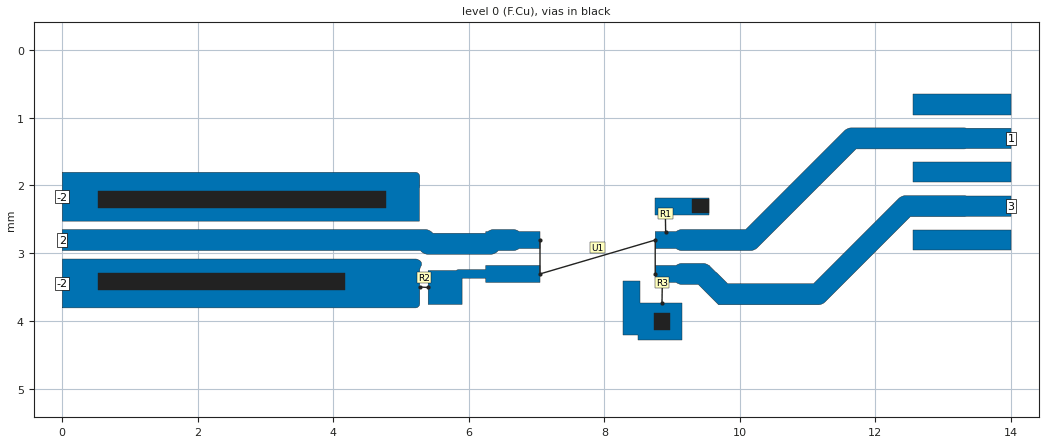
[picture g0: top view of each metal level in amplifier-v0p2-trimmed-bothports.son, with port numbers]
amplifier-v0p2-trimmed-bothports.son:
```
FTYP SONPROJ 19 ! Sonnet Project File
VER 18.01
HEADER
LIC antikernel2.1.51176 90e2ba8817c1 havequick azonenberg FullLicense
DAT 10/10/2021 16:12:27
BUILT_BY_CREATED dxf 18.01 09/24/2021 21:18:47
BUILT_BY_SAVED sonnet 18.01
MDATE 10/10/2021 07:20:18
HDATE 10/10/2021 07:20:18
ANN Created by dxfgeo, Sonnet Software Inc.
END HEADER
DIM
ANG DEG
CAP PF
CON /OH
FREQ GHZ
IND NH
LNG MM
RES OH
END DIM
CONTROL
VARSWP
OPTIONS  -dj
SPEED 1
CACHE_ABS 2
Q_ACC N
END CONTROL
GEO
TMET "Lossless" 0 SUP 0 0 0 0
BMET "Lossless" 0 SUP 0 0 0 0
MET "Unknown_metal" 1 NOR INF 0.5 0 
MET "Copper 1oz thick" 2 TMM 58000000 0.5 0.035 2
MET "Unknown_metal" 1 VOL INF 0
BOX 1 14 5 1120 1000 20 0
      5 1 1 0 0 0 0 "Air"
      0.17 3.68 1 0.0092 0 0 0 "Isola FR408HR"
TECHLAY METAL F.Cu L1D0 -1 -65534 
0 0 1 T 621 1 1 100 100 0 0 0 Y
END
END
TECHLAY VIA L2D0 L2D0 -2 -65534 
VIA POLYGON
0 0 2 N 627 1 1 100 100 0 0 0 Y
TOLEVEL 1 RING NOCOVERS
END
END
LORGN 0 5 U 
POR1 BOX
POLY 397 1
34
-2 50 0 0 0 5.329070518e-15 3.4455 
POR1 BOX
POLY 401 1
43
2 50 0 0 0 5.329070518e-15 2.805 
POR1 BOX
POLY 553 1
12
-2 50 0 0 0 5.329070518e-15 2.1655 
POR1 BOX
POLY 599 1
12
1 50 0 0 0 14 1.305 
POR1 BOX
POLY 609 1
14
3 50 0 0 0 14 2.305 
SMD 0 "R2"
ID 469
GNDREF AUTO
DRP1 RIGHT NONE 1
DRP1 LEFT NONE 1
SBOX 5.30625 5.36875 3.492125 3.510875
PBSHW N
LPOS 5.3375 3.492125
TYPE IDEAL RES 50
SMDP 0 5.4 3.505 R 4 1 
EXSMDP
GNDREF AUTO
TERMW CUST 0.1
END EXSMDP
SMDP 0 5.275 3.498 L 5 2 
EXSMDP
GNDREF AUTO
TERMW CUST 0.1
END EXSMDP
END
SMD 0 "U1"
ID 531
GNDREF AUTO
DRP1 LEFT NONE 1
DRP1 RIGHT NONE 1
SBOX 7.475 8.325 2.63 3.48
PBSHW N
LPOS 7.9 2.63
TYPE SPARAM 1
SMDP 0 8.75 3.305 R 6 1 
EXSMDP
GNDREF BOX AUTO
TERMW FEED
END EXSMDP
SMDP 0 8.75 2.805 R 7 2 
EXSMDP
GNDREF BOX AUTO
TERMW FEED
END EXSMDP
SMDP 0 7.05 3.305 L 8 3 
EXSMDP
GNDREF BOX AUTO
TERMW FEED
END EXSMDP
SMDP 0 7.05 2.805 L 9 4 
EXSMDP
GNDREF BOX AUTO
TERMW FEED
END EXSMDP
END
SMD 0 "R1"
ID 540
GNDREF AUTO
DRP1 BOTTOM NONE 1
DRP1 TOP NONE 1
SBOX 8.8395 8.9645 2.4925 2.6175
PBSHW N
LPOS 8.902 2.4925
TYPE IDEAL RES 110
SMDP 0 8.904 2.68 B 10 1 
EXSMDP
GNDREF AUTO
TERMW CUST 0.1
END EXSMDP
SMDP 0 8.9 2.43 T 11 2 
EXSMDP
GNDREF AUTO
TERMW CUST 0.1
END EXSMDP
END
SMD 0 "R3"
ID 545
GNDREF AUTO
DRP1 TOP NONE 1
DRP1 BOTTOM NONE 1
SBOX 8.7775 8.9275 3.505 3.655
PBSHW N
LPOS 8.8525 3.505
TYPE IDEAL RES 110
SMDP 0 8.855 3.43 T 12 1 
EXSMDP
GNDREF AUTO
TERMW CUST 0.1
END EXSMDP
SMDP 0 8.85 3.73 B 13 2 
EXSMDP
GNDREF AUTO
TERMW CUST 0.1
END EXSMDP
END
NUM 15
0 16 1 T 9 1 1 100 100 0 0 0 Y
TLAYNAM F.Cu INH
5.4 3.755
5.4 3.255
5.813 3.255
5.818 3.251
5.823 3.248
5.835 3.244
5.847 3.242
6.25 3.242
6.25 3.18
7.05 3.18
7.05 3.43
6.25 3.43
6.25 3.368
5.9 3.368
5.9 3.755
5.4 3.755
END
0 38 1 T 397 1 1 100 100 0 0 0 Y
TLAYNAM F.Cu INH
5.227 3.804
5.239 3.8
5.244 3.797
5.254 3.789
5.258 3.785
5.266 3.775
5.269 3.77
5.269 3.769
5.271 3.764
5.273 3.758
5.275 3.746
5.275 3.25
5.277 3.23
5.284 3.208
5.292 3.192
5.295 3.187
5.296 3.186
5.3 3.174
5.302 3.162
5.301 3.156
5.301 3.15
5.3 3.144
5.296 3.132
5.293 3.127
5.285 3.117
5.281 3.113
5.271 3.105
5.266 3.102
5.258 3.099
5.25 3.095
5.249 3.094
5.244 3.091
5.232 3.087
5.22 3.085
5.329070518e-15 3.085
5.329070518e-15 3.806
5.215 3.806
5.227 3.804
END
0 57 1 T 401 1 1 100 100 0 0 0 Y
TLAYNAM F.Cu INH
6.339 3.014
6.354 3.011
6.368 3.006
6.382 3
6.396 2.993
6.408 2.985
6.42 2.975
6.435 2.96
6.658 2.96
6.673 2.959
6.688 2.956
6.702 2.951
6.716 2.945
6.73 2.938
6.742 2.93
7.05 2.93
7.05 2.68
6.742 2.68
6.73 2.672
6.716 2.665
6.702 2.659
6.688 2.654
6.673 2.651
6.658 2.65
6.363 2.65
6.348 2.651
6.333 2.654
6.319 2.659
6.305 2.665
6.291 2.672
6.279 2.68
6.25 2.68
6.25 2.705
5.468 2.705
5.465 2.701
5.454 2.69
5.442 2.68
5.43 2.672
5.416 2.665
5.402 2.659
5.388 2.654
5.373 2.651
5.358 2.65
5.329070518e-15 2.65
5.329070518e-15 2.96
5.286 2.96
5.29 2.964
5.3 2.975
5.312 2.985
5.325 2.993
5.338 3
5.352 3.006
5.367 3.011
5.382 3.014
5.397 3.015
6.324 3.015
6.339 3.014
END
0 5 1 T 453 1 1 100 100 0 0 0 Y
TLAYNAM F.Cu INH
14 2.655
12.55 2.655
12.55 2.955
14 2.955
14 2.655
END
0 5 1 T 454 1 1 100 100 0 0 0 Y
TLAYNAM F.Cu INH
14 0.655
12.55 0.655
12.55 0.955
14 0.955
14 0.655
END
0 5 1 T 455 1 1 100 100 0 0 0 Y
TLAYNAM F.Cu INH
14 1.655
12.55 1.655
12.55 1.955
14 1.955
14 1.655
END
0 9 1 T 551 1 1 100 100 0 0 0 Y
TLAYNAM F.Cu INH
9.15 3.73
8.525 3.73
8.525 3.405
8.275 3.405
8.275 4.205
8.49 4.205
8.49 4.28
9.15 4.28
9.15 3.73
END
0 16 1 T 553 1 1 100 100 0 0 0 Y
TLAYNAM F.Cu INH
5.27 2.03
5.275 2.03
5.275 1.865
5.273 1.853
5.269 1.841
5.266 1.836
5.258 1.826
5.254 1.822
5.244 1.814
5.239 1.811
5.227 1.807
5.215 1.805
5.329070518e-15 1.805
5.329070518e-15 2.526
5.27 2.526
5.27 2.03
END
0 13 1 T 559 1 1 100 100 0 0 0 Y
TLAYNAM F.Cu INH
9.55 2.368
9.55 2.368
9.55 2.242
9.55 2.242
9.55 2.18
8.75 2.18
8.75 2.242
8.75 2.242
8.75 2.368
8.75 2.368
8.75 2.43
9.55 2.43
9.55 2.368
END
0 45 1 T 599 1 1 100 100 0 0 0 Y
TLAYNAM F.Cu INH
10.173 2.959
10.188 2.956
10.202 2.951
10.216 2.945
10.23 2.938
10.242 2.93
10.254 2.92
11.714 1.46
13.308 1.46
13.323 1.459
13.338 1.456
13.341 1.455
14 1.455
14 1.155
13.341 1.155
13.338 1.154
13.323 1.151
13.308 1.15
11.642 1.15
11.627 1.151
11.612 1.154
11.598 1.159
11.584 1.165
11.57 1.172
11.558 1.18
11.546 1.19
10.086 2.65
9.142 2.65
9.127 2.651
9.112 2.654
9.098 2.659
9.084 2.665
9.07 2.672
9.058 2.68
8.75 2.68
8.75 2.93
9.058 2.93
9.07 2.938
9.084 2.945
9.098 2.951
9.112 2.956
9.127 2.959
9.142 2.96
10.158 2.96
10.173 2.959
END
0 64 1 T 609 1 1 100 100 0 0 0 Y
TLAYNAM F.Cu INH
9.919 3.76
11.158 3.76
11.173 3.759
11.188 3.756
11.202 3.751
11.216 3.745
11.23 3.738
11.242 3.73
11.254 3.72
12.514 2.46
13.308 2.46
13.323 2.459
13.338 2.456
13.341 2.455
14 2.455
14 2.155
13.341 2.155
13.338 2.154
13.323 2.151
13.308 2.15
12.442 2.15
12.427 2.151
12.412 2.154
12.398 2.159
12.384 2.165
12.37 2.172
12.358 2.18
12.346 2.19
11.086 3.45
9.820589 3.45
9.655392667 3.284803667
9.651 3.287
9.554 3.19
9.55 3.187
9.55 3.18
9.542 3.18
9.53 3.172
9.516 3.165
9.502 3.159
9.488 3.154
9.473 3.151
9.458 3.15
9.142 3.15
9.127 3.151
9.112 3.154
9.098 3.159
9.084 3.165
9.07 3.172
9.058 3.18
8.75 3.18
8.75 3.43
9.058 3.43
9.07 3.438
9.084 3.445
9.098 3.451
9.112 3.456
9.127 3.459
9.142 3.46
9.386 3.46
9.475 3.549
9.475 3.549583
9.685417 3.76
9.919 3.76
9.919 3.76
END
VIA POLYGON
0 5 2 N 255 1 1 100 100 0 0 0 Y
TOLEVEL 1 RING NOCOVERS
TLAYNAM L2D0 INH
0.525 3.535
0.525 3.285
4.175 3.285
4.175 3.535
0.525 3.535
END
VIA POLYGON
0 5 2 N 262 1 1 100 100 0 0 0 Y
TOLEVEL 1 RING NOCOVERS
TLAYNAM L2D0 INH
8.725 4.13
8.725 3.88
8.975 3.88
8.975 4.13
8.725 4.13
END
VIA POLYGON
0 5 2 N 265 1 1 100 100 0 0 0 Y
TOLEVEL 1 RING NOCOVERS
TLAYNAM L2D0 INH
0.525 2.325
0.525 2.075
4.775 2.075
4.775 2.325
0.525 2.325
END
VIA POLYGON
0 5 2 N 306 1 1 100 100 0 0 0 Y
TOLEVEL 1 RING NOCOVERS
TLAYNAM L2D0 INH
9.292 2.408
9.292 2.2
9.542 2.2
9.542 2.408
9.292 2.408
END
END GEO
OPT
MAX 100
END OPT
VARSWP
ENABLED Y
FREQ Y AY ABS_ENTRY 0.01 6.0 -1 300 
END
END VARSWP
SMDFILES
1 "../../../../../../../bulk/datasheets/Analog/Amplifier/ADL5569/ADL5569_FinalSilicon_ChA_p1_Vin_p2_Vip_p3_Von_p4_Vop_pcb1.s4p"
END SMDFILES
```
